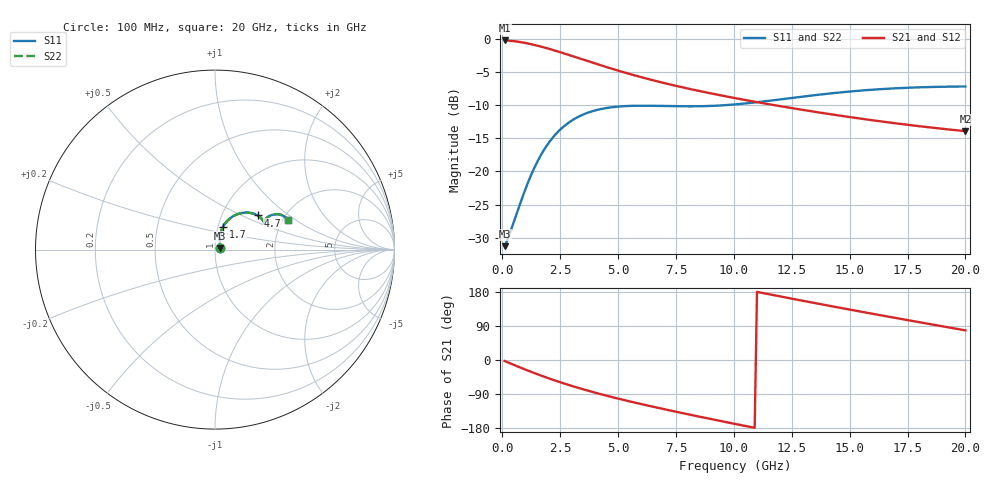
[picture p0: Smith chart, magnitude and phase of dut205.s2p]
! Touchstone file exported from HFSS 2024.1.0
!  File:  C:/UserFiles/LocalFiles/RDL_TSV_Batchsim/temp_RDL_TSV_205_1779444859.aedt
!  Generated:  06:32:56 PM May 22, 2026
!  Design:  RDL_TSV
!  Project:  temp_RDL_TSV_205_1779444859
!  Setup:  Setup1
!  Solution:  Sweep
! Variables:
!  dtsv = 11.9um
!  hbump = 3um
!  htsv = 96.06um
!  ldown = 557.02um
!  lrdl = 546.63um
!  p = 40
!  p1 = 58.25um
!  rhole = 10um
!  subl = 3857.58um
!  t = 450um
!  tdown = 3.94um
!  trdl = 3.84um
!  viad = 10um
!  wdown = 11.9um
!  wrdl = 14.2um
!  xbump = 18um
# GHz S MA R 50.000000
! Terminal data exported
! Port[1] = TM1_1_T1
! Port[2] = TM1_4_T1
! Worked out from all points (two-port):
!   200 points, 100 MHz to 20 GHz, reference 50 ohm
!   highest |S21| = -0.24 dB at 100 MHz (marker M1); lowest = -13.9 dB at 20 GHz (marker M2)
!   |S21| within 3 dB of the highest: start of sweep to 3.59 GHz
!   lowest |S11| = -31.3 dB at 100 MHz (marker M3), VSWR 1.06, Z = 52.7 + j0.696 ohm
!   |S11| at or under -10 dB: start of sweep to 9.629 GHz
!   |S22| runs from -31.3 to -7.2 dB; largest |S21 - S12| = 8.7e-15
!   S11 on the Smith chart (normalised r, x): 100 MHz: 1.05, +0.01; 1.7 GHz: 1.06, +0.28; 4.7 GHz: 1.47, +0.62; 20 GHz: 2.12, +0.86
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0.1  0.0273 14.0  0.973 -2.6  0.973 -2.6  0.0273 14.0
! Gamma 0 0 0 0
! Port Impedance 50 0 50 0
0.2  0.02977 26.0  0.9712 -5.3  0.9712 -5.3  0.02977 26.0
0.5  0.04185 49.7  0.9609 -13.0  0.9609 -13.0  0.04185 49.7
0.9  0.06612 65.9  0.9383 -23.0  0.9383 -23.0  0.06609 65.8
1.3  0.09887 71.3  0.9079 -32.6  0.9079 -32.6  0.09879 71.2
1.7  0.1359 70.6  0.8721 -41.7  0.8721 -41.7  0.1358 70.5
2.1  0.1729 67.0  0.8335 -50.4  0.8335 -50.4  0.1726 67.0
2.5  0.2067 62.3  0.7936 -58.7  0.7936 -58.7  0.2063 62.2
3  0.2421 56.1  0.7443 -68.4  0.7443 -68.4  0.2416 56.0
3.5  0.2691 50.1  0.697 -77.5  0.697 -77.5  0.2686 50.1
4.1  0.2914 43.9  0.6447 -87.7  0.6447 -87.7  0.2907 43.8
4.7  0.3045 38.7  0.5978 -97.3  0.5978 -97.3  0.3037 38.7
5.7  0.3128 32.6  0.5314 -112.1  0.5314 -112.1  0.3118 32.6
6.8  0.312 29.0  0.4731 -127.3  0.4731 -127.3  0.3109 29.0
8.4  0.31 28.3  0.4082 -148.1  0.4082 -148.1  0.3088 28.4
10.1  0.3209 30.2  0.3561 -169.3  0.3561 -169.3  0.3198 30.3
11.8  0.3458 31.5  0.3151 170.2  0.3151 170.2  0.3452 31.7
13.4  0.3745 31.1  0.2835 151.4  0.2835 151.4  0.3742 31.3
15  0.4007 29.4  0.2572 133.1  0.2572 133.1  0.4008 29.6
16.7  0.4213 26.8  0.2341 114.1  0.2341 114.1  0.4216 27.0
18.3  0.4327 24.3  0.2165 96.6  0.2165 96.6  0.4332 24.5
20  0.4374 22.1  0.2013 78.2  0.2013 78.2  0.4382 22.2
